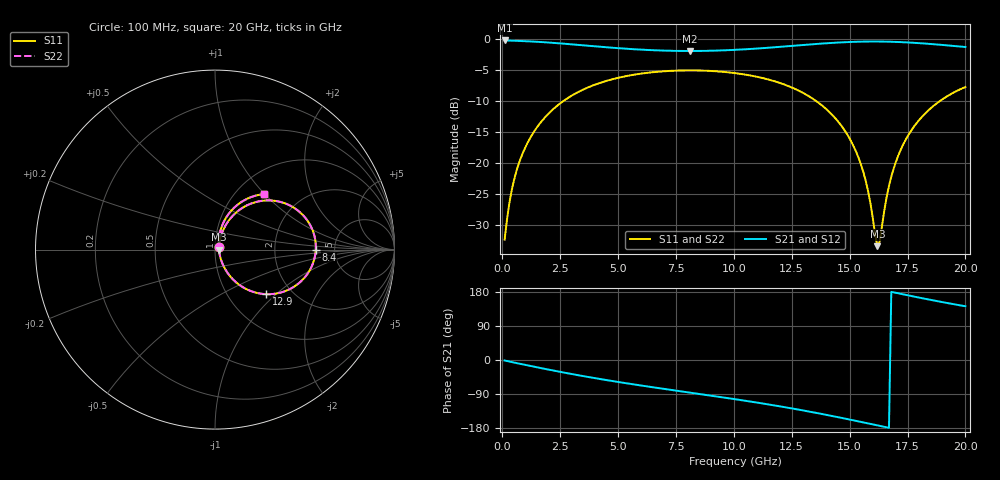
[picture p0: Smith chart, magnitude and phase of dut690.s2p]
! Touchstone file exported from HFSS 2026.1.0
!  File:  C:/ffzhzh/LocalFiles/Ansys_Project_Files/temp_train_TSV_RDL_690_1783135095_37876.aedt
!  Generated:  11:28:51 AM Jul  4, 2026
!  Design:  TSV_RDL
!  Project:  temp_train_TSV_RDL_690_1783135095_37876
! Variables:
!  h_bsmrdl = 2.29um
!  h_ox = 20um
!  h_rdl = 5um
!  h_sub = 78.35um
!  h_tmrdl = 2.91um
!  h_tsv = 78.35um
!  h_via = 3um
!  l_bsmrdl = 283.22um
!  l_sub = 3515.72um
!  l_tmrdl = 532.39um
!  m_sub = 200um
!  pitch = 55.79um
!  r_tsv = 10.4um
!  s_tmrdl = 10um
!  w_bsmrdl = 26.03um
!  w_sub = 500um
!  w_tmrdl = 19.47um
!  x_tsv_center1 = 542.125um
!  x_tsv_center2 = 851.375um
!  x_tsv_center3 = 1403.235um
!  x_tsv_center4 = 1712.485um
!  x_tsv_center5 = 2264.345um
!  x_tsv_center6 = 2573.595um
# GHz S MA R 50.000000
! Terminal data exported
! Port[1] = TM_RDL1_1_T1
! Port[2] = TM_RDL5_1_T1
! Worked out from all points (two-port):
!   200 points, 100 MHz to 20 GHz, reference 50 ohm
!   highest |S21| = -0.17 dB at 100 MHz (marker M1); lowest = -1.9 dB at 8.1 GHz (marker M2)
!   |S21| within 3 dB of the highest: start of sweep to end of sweep
!   lowest |S11| = -33.4 dB at 16.2 GHz (marker M3), VSWR 1.04, Z = 52.2 - j0.0974 ohm
!   |S11| at or under -10 dB: start of sweep to 2.62 GHz; 13.57 GHz to 18.88 GHz (5.306 GHz wide, 32.7 % of centre)
!   |S22| runs from -33.3 to -5.0 dB; largest |S21 - S12| = 5.1e-14
!   S11 on the Smith chart (normalised r, x): 100 MHz: 1.04, +0.03; 8.4 GHz: 3.56, -0.00; 12.9 GHz: 1.49, -0.86; 20 GHz: 1.33, +0.99
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0.1  0.02414 35.1  0.9805 -1.4  0.9805 -1.4  0.02414 35.1
! Gamma 0 0 0 0
! Port Impedance 50 0 50 0
0.3  0.04706 60.0  0.9785 -4.0  0.9785 -4.0  0.04706 60.0
0.5  0.07242 65.8  0.9757 -6.7  0.9757 -6.7  0.07242 65.8
1.1  0.1472 66.4  0.9654 -14.3  0.9654 -14.3  0.1472 66.4
2.1  0.2629 58.1  0.9407 -26.6  0.9407 -26.6  0.2629 58.1
3.5  0.3939 44.0  0.8956 -42.6  0.8956 -42.6  0.3939 44.0
6.8  0.5498 13.6  0.8139 -74.6  0.8139 -74.6  0.5498 13.6
8.1  0.5621 2.5  0.806 -86.1  0.806 -86.1  0.5621 2.5
8.4  0.5615 -0.0  0.8064 -88.7  0.8064 -88.7  0.5615 0.0
10.1  0.5329 -14.6  0.8242 -103.9  0.8242 -103.9  0.5329 -14.6
12.9  0.3773 -41.2  0.8985 -132.1  0.8985 -132.1  0.3774 -41.1
13.4  0.3329 -46.3  0.9138 -137.7  0.9138 -137.7  0.3329 -46.2
14.5  0.2175 -57.2  0.9433 -150.9  0.9433 -150.9  0.2176 -57.1
15.3  0.1214 -62.6  0.9571 -160.9  0.9571 -160.9  0.1214 -62.5
15.8  0.0593 -58.0  0.9612 -167.3  0.9612 -167.3  0.05938 -57.8
16.2  0.02139 -2.5  0.9615 -172.5  0.9615 -172.5  0.02158 -2.5
16.3  0.02336 29.9  0.9612 -173.8  0.9612 -173.8  0.02351 29.6
16.7  0.06554 70.9  0.9583 -179.0  0.9583 -179.0  0.06558 70.8
17.2  0.1276 74.0  0.9512 174.7  0.9512 174.7  0.1277 73.9
17.9  0.2116 69.2  0.9356 165.9  0.9356 165.9  0.2116 69.2
18.8  0.3084 60.5  0.9088 155.1  0.9088 155.1  0.3084 60.5
20  0.4125 48.5  0.8684 141.8  0.8684 141.8  0.4125 48.5
